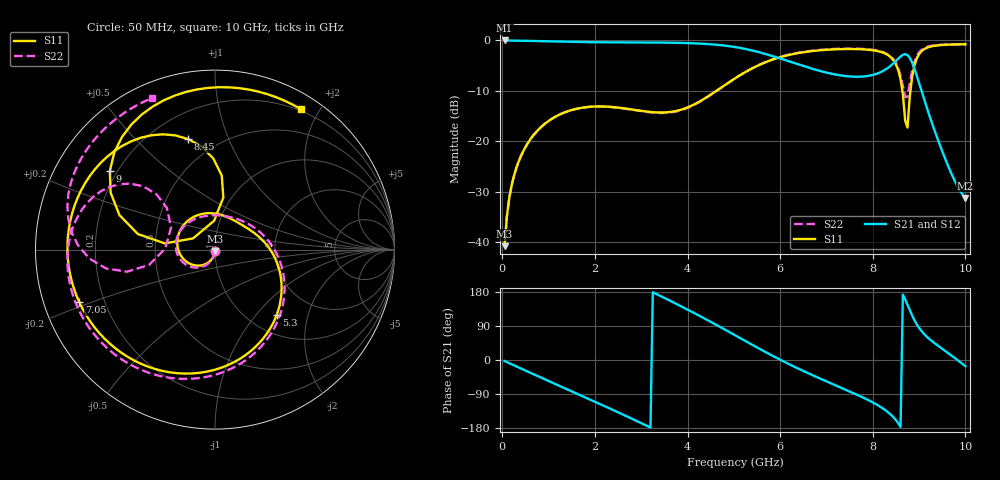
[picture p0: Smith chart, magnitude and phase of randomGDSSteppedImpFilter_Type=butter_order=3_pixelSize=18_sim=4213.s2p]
! freq	dB(S11)	phase(S11)	dB(S12)	phase(S12)
!  dB(S21)	phase(S21)	dB(S22)	phase(S22)
!S-par simulation data
#  GHz  S  DB  R 50
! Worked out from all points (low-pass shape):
!   200 points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, 50 MHz to 10 GHz, reference 50 ohm
!   highest |S21| = 0.00 dB at 50 MHz (marker M1); lowest = -31.2 dB at 10 GHz (marker M2)
!   |S21| within 3 dB of the highest: start of sweep to 5.799 GHz; 8.626 GHz to 8.76 GHz (134.2 MHz wide, 1.54 % of centre)
!   lowest |S11| = -40.8 dB at 50 MHz (marker M3), VSWR 1.02, Z = 50 - j0.915 ohm
!   |S11| at or under -10 dB: start of sweep to 4.62 GHz; 8.639 GHz to 8.813 GHz (173.7 MHz wide, 1.99 % of centre)
!   |S22| runs from -40.7 to -0.8 dB; largest |S21 - S12| = 0
!   S11 on the Smith chart (normalised r, x): 50 MHz: 1.00, -0.02; 5.3 GHz: 1.33, -1.29; 7.05 GHz: 0.11, -0.19; 8.45 GHz: 0.35, +0.72; 9 GHz: 0.17, +0.32; 10 GHz: 0.18, +1.77
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0.05  -40.75 -92.4  -0.00 -2.8  -0.00 -2.8  -40.74 -92.0
0.2  -28.79 -101.7  -0.03 -11.2  -0.03 -11.2  -28.79 -100.1
0.5  -21.13 -120.1  -0.08 -27.9  -0.08 -27.9  -21.12 -116.2
1.15  -15.09 -159.0  -0.22 -63.7  -0.22 -63.7  -15.08 -149.7
1.75  -13.29 165.3  -0.33 -96.5  -0.33 -96.5  -13.29 -179.7
2.65  -13.48 110.7  -0.39 -146.5  -0.39 -146.5  -13.51 134.7
3.4  -14.28 65.8  -0.42 169.8  -0.42 169.8  -14.37 91.9
4.3  -11.89 16.3  -0.64 113.9  -0.64 113.9  -11.98 28.7
5.05  -7.37 -29.9  -1.35 63.7  -1.35 63.7  -7.38 -25.2
5.3  -6.00 -46.7  -1.79 46.6  -1.79 46.6  -6.00 -42.3
6.05  -3.20 -97.3  -3.73 -2.4  -3.73 -2.4  -3.15 -89.5
6.7  -2.10 -138.0  -5.63 -40.2  -5.63 -40.2  -2.02 -124.5
7.05  -1.82 -158.7  -6.48 -59.0  -6.48 -59.0  -1.74 -141.4
7.75  -1.74 159.4  -7.17 -96.7  -7.17 -96.7  -1.66 -173.8
8.35  -3.04 114.3  -5.28 -139.9  -5.28 -139.9  -2.91 153.1
8.45  -3.97 103.6  -4.50 -151.6  -4.50 -151.6  -3.78 145.8
8.65  -10.64 80.9  -2.84 172.5  -2.84 172.5  -8.99 139.0
8.75  -17.25 153.0  -2.89 145.7  -2.89 145.7  -11.15 178.7
8.85  -7.17 168.6  -4.39 117.5  -4.39 117.5  -5.93 -165.9
9  -2.72 143.3  -8.45 84.9  -8.45 84.9  -2.35 178.3
9.4  -0.98 100.4  -19.50 38.4  -19.50 38.4  -0.89 145.6
10  -0.75 58.4  -31.21 -16.2  -31.21 -16.2  -0.78 112.6
